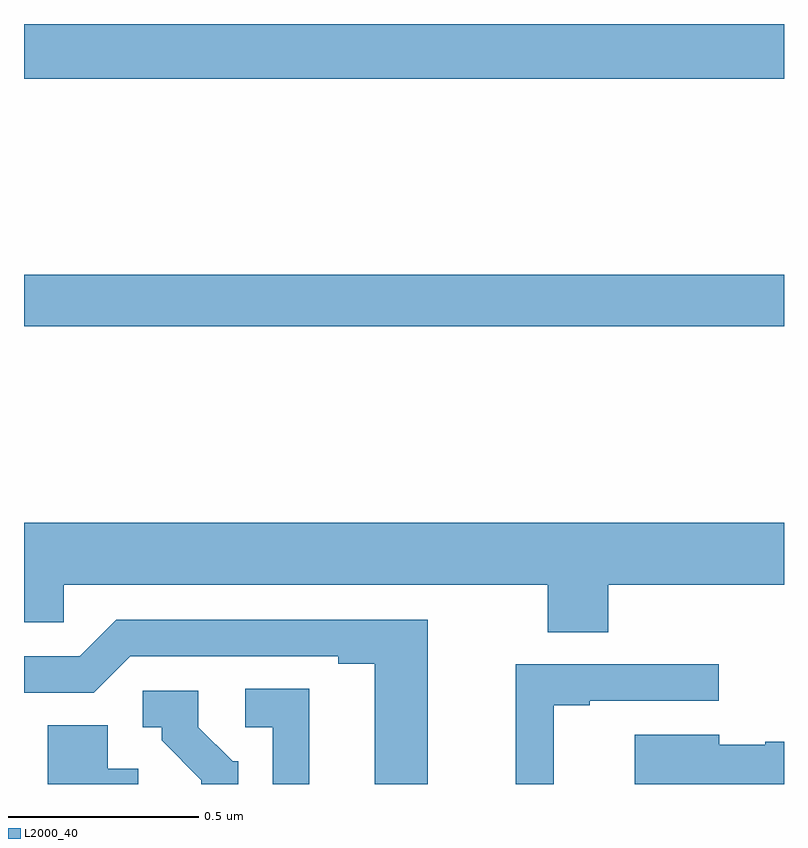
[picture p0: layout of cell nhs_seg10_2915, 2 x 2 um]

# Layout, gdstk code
import gdstk
lib = gdstk.Library(unit=1e-6, precision=1e-09)
def R(c, l, rs):  # rectangles x0, y0, x1, y1
    for r in rs: c.add(gdstk.rectangle(r[:2], r[2:], *l))
def P(c, l, *ps):  # polygons
    for p in ps: c.add(gdstk.Polygon(p, *l))
L2000_40 = (2000, 40)

nhs_seg10_2915 = lib.new_cell('nhs_seg10_2915')
R(nhs_seg10_2915, L2000_40, [(147,1259.704,149,1259.84), (147,1260.356,149,1260.5)])
P(nhs_seg10_2915, L2000_40, [(148.538,1259.024),(149,1259.024),(149,1259.188),(147,1259.188),(147,1258.926),(147.105,1258.926),(147.105,1259.024),(148.378,1259.024),(148.378,1258.9),(148.538,1258.9)],
  [(148.063,1258.932),(147.243,1258.932),(147.147,1258.836),(147,1258.836),(147,1258.74),(147.183,1258.74),(147.279,1258.836),(147.827,1258.836),(147.827,1258.816),(147.923,1258.816),(147.923,1258.5),(148.063,1258.5)],
  [(148.394,1258.707),(148.489,1258.707),(148.489,1258.719),(148.828,1258.719),(148.828,1258.815),(148.294,1258.815),(148.294,1258.5),(148.394,1258.5)],
  [(147.751,1258.751),(147.582,1258.751),(147.582,1258.65),(147.654,1258.65),(147.654,1258.5),(147.751,1258.5)],
  [(147.564,1258.56),(147.549,1258.56),(147.459,1258.65),(147.459,1258.746),(147.312,1258.746),(147.312,1258.65),(147.362,1258.65),(147.362,1258.615),(147.467,1258.51),(147.467,1258.5),(147.564,1258.5)],
  [(147.301,1258.54),(147.22,1258.54),(147.22,1258.655),(147.062,1258.655),(147.062,1258.5),(147.301,1258.5)],
  [(149,1258.611),(148.95,1258.611),(148.95,1258.603),(148.83,1258.603),(148.83,1258.63),(148.607,1258.63),(148.607,1258.5),(149,1258.5)])

lib.write_gds('nhs_seg10_2915.gds')
